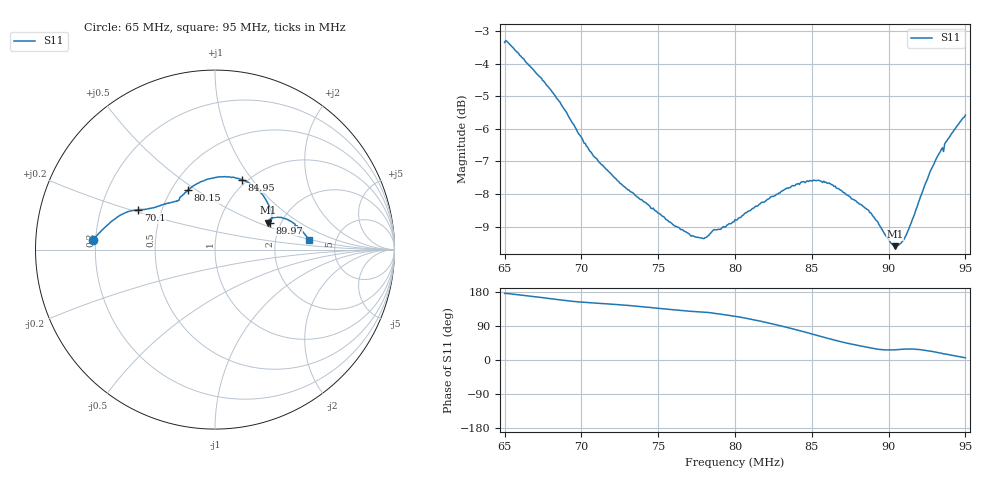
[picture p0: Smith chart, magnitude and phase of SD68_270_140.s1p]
! NanoVNA-App
! Date: 2025-08-09 13:38:47
! Start: 65MHz Stop: 95MHz Points: 401
! S-Parameter data: F S11
# Hz S RI R 50
!  Frequency  S11_Real  S11_Imag
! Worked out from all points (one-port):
!   401 points, 65 MHz to 95 MHz, reference 50 ohm
!   lowest |S11| = -9.6 dB at 90.42 MHz (marker M1), VSWR 1.99, Z = 85.8 + j28.9 ohm
!   |S11| at or under -10 dB: nowhere
!   S11 on the Smith chart (normalised r, x): 65 MHz: 0.19, +0.04; 70.1 MHz: 0.37, +0.21; 80.15 MHz: 0.61, +0.46; 84.95 MHz: 0.94, +0.89; 89.97 MHz: 1.75, +0.59; 95 MHz: 3.14, +0.47
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6.5e7  -0.6775 0.0517
6.5225e7  -0.6772 0.0565
6.68e7  -0.6059 0.1311
6.875e7  -0.5032 0.2036
7.01e7  -0.4271 0.2218
7.0775e7  -0.3972 0.2232
7.25e7  -0.3421 0.2327
7.625e7  -0.2352 0.265
7.7975e7  -0.1996 0.2755
7.8575e7  -0.1948 0.2913
8e7  -0.1556 0.3289
8.015e7  -0.1492 0.3317
8.18e7  -0.0754 0.3796
8.315e7  0.0118 0.4032
8.375e7  0.055 0.4067
8.495e7  0.1491 0.39
8.6225e7  0.2362 0.338
8.75e7  0.2897 0.2674
8.885e7  0.3173 0.1951
8.9525e7  0.3137 0.1619
8.9975e7  0.3042 0.1508
9.0425e7  0.2956 0.1497
9.0875e7  0.2961 0.1596
9.125e7  0.306 0.1687
9.2075e7  0.3506 0.1804
9.2825e7  0.403 0.1682
9.3875e7  0.4684 0.1213
9.5e7  0.5232 0.0538
